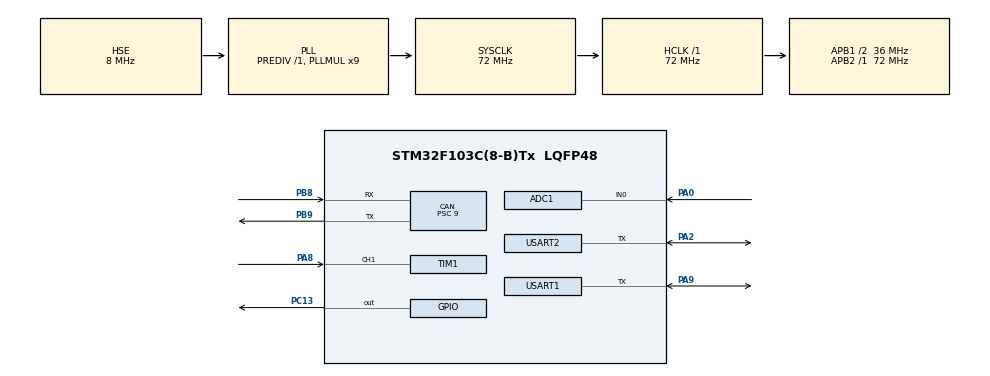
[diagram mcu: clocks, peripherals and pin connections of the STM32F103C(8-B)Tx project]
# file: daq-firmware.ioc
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ADC1.Channel-1\#ChannelRegularConversion=ADC_CHANNEL_0
ADC1.ContinuousConvMode=ENABLE
ADC1.NbrOfConversionFlag=1
ADC1.Rank-1\#ChannelRegularConversion=1
ADC1.SamplingTime-1\#ChannelRegularConversion=ADC_SAMPLETIME_239CYCLES_5
ADC1.master=1
CAN.BS1=CAN_BS1_3TQ
CAN.BS2=CAN_BS2_4TQ
CAN.CalculateBaudRate=500000
CAN.CalculateTimeBit=2000
CAN.CalculateTimeQuantum=250.0
CAN.Mode=CAN_MODE_LOOPBACK
CAN.Prescaler=9
Dma.ADC1.4.Direction=DMA_PERIPH_TO_MEMORY
Dma.ADC1.4.Instance=DMA1_Channel1
Dma.ADC1.4.MemDataAlignment=DMA_MDATAALIGN_HALFWORD
Dma.ADC1.4.MemInc=DMA_MINC_ENABLE
Dma.ADC1.4.Mode=DMA_CIRCULAR
Dma.ADC1.4.PeriphDataAlignment=DMA_PDATAALIGN_HALFWORD
Dma.ADC1.4.PeriphInc=DMA_PINC_DISABLE
Dma.ADC1.4.Priority=DMA_PRIORITY_LOW
Dma.Request0=USART1_RX
Dma.Request1=USART1_TX
Dma.Request2=USART2_TX
Dma.Request3=USART2_RX
Dma.Request4=ADC1
Dma.USART1_RX.0.Direction=DMA_PERIPH_TO_MEMORY
Dma.USART1_RX.0.Instance=DMA1_Channel5
Dma.USART1_RX.0.MemDataAlignment=DMA_MDATAALIGN_BYTE
Dma.USART1_RX.0.MemInc=DMA_MINC_ENABLE
Dma.USART1_RX.0.Mode=DMA_NORMAL
Dma.USART1_RX.0.PeriphDataAlignment=DMA_PDATAALIGN_BYTE
Dma.USART1_RX.0.PeriphInc=DMA_PINC_DISABLE
Dma.USART1_RX.0.Priority=DMA_PRIORITY_LOW
Dma.USART1_TX.1.Direction=DMA_MEMORY_TO_PERIPH
Dma.USART1_TX.1.Instance=DMA1_Channel4
Dma.USART1_TX.1.MemDataAlignment=DMA_MDATAALIGN_BYTE
Dma.USART1_TX.1.MemInc=DMA_MINC_ENABLE
Dma.USART1_TX.1.Mode=DMA_NORMAL
Dma.USART1_TX.1.PeriphDataAlignment=DMA_PDATAALIGN_BYTE
Dma.USART1_TX.1.PeriphInc=DMA_PINC_DISABLE
Dma.USART1_TX.1.Priority=DMA_PRIORITY_LOW
Dma.USART2_RX.3.Direction=DMA_PERIPH_TO_MEMORY
Dma.USART2_RX.3.Instance=DMA1_Channel6
Dma.USART2_RX.3.MemDataAlignment=DMA_MDATAALIGN_BYTE
Dma.USART2_RX.3.MemInc=DMA_MINC_ENABLE
Dma.USART2_RX.3.Mode=DMA_NORMAL
Dma.USART2_RX.3.PeriphDataAlignment=DMA_PDATAALIGN_BYTE
Dma.USART2_RX.3.PeriphInc=DMA_PINC_DISABLE
Dma.USART2_RX.3.Priority=DMA_PRIORITY_LOW
Dma.USART2_TX.2.Direction=DMA_MEMORY_TO_PERIPH
Dma.USART2_TX.2.Instance=DMA1_Channel7
Dma.USART2_TX.2.MemDataAlignment=DMA_MDATAALIGN_BYTE
Dma.USART2_TX.2.MemInc=DMA_MINC_ENABLE
Dma.USART2_TX.2.Mode=DMA_NORMAL
Dma.USART2_TX.2.PeriphDataAlignment=DMA_PDATAALIGN_BYTE
Dma.USART2_TX.2.PeriphInc=DMA_PINC_DISABLE
Dma.USART2_TX.2.Priority=DMA_PRIORITY_LOW
Mcu.Family=STM32F1
Mcu.Name=STM32F103C(8-B)Tx
Mcu.Package=LQFP48
NVIC.DMA1_Channel1_IRQn=true\:0\:0\:false\:false\:true\:false\:true\:true
NVIC.DMA1_Channel4_IRQn=true\:0\:0\:false\:false\:true\:false\:true\:true
NVIC.DMA1_Channel5_IRQn=true\:0\:0\:false\:false\:true\:false\:true\:true
NVIC.DMA1_Channel6_IRQn=true\:0\:0\:false\:false\:true\:false\:true\:true
NVIC.DMA1_Channel7_IRQn=true\:0\:0\:false\:false\:true\:false\:true\:true
NVIC.PriorityGroup=NVIC_PRIORITYGROUP_4
NVIC.TIM1_CC_IRQn=true\:0\:0\:false\:false\:true\:true\:true\:true
NVIC.USART1_IRQn=true\:0\:0\:false\:false\:true\:true\:true\:true
NVIC.USART2_IRQn=true\:0\:0\:false\:false\:true\:true\:true\:true
PA0-WKUP.Signal=ADCx_IN0
PA13.Mode=Serial_Wire
PA13.Signal=SYS_JTMS-SWDIO
PA14.Mode=Serial_Wire
PA14.Signal=SYS_JTCK-SWCLK
PA2.Mode=Half_duplex(single_wire_mode)
PA2.Signal=USART2_TX
PA8.Signal=S_TIM1_CH1
PA9.GPIO_Mode=GPIO_MODE_AF_OD
PA9.GPIO_Speed=GPIO_SPEED_FREQ_MEDIUM
PA9.Mode=Half_duplex(single_wire_mode)
PA9.Signal=USART1_TX
PB8.Mode=CAN_Activate
PB8.Signal=CAN_RX
PB9.Mode=CAN_Activate
PB9.Signal=CAN_TX
PC13-TAMPER-RTC.GPIO_ModeDefaultOutputPP=GPIO_MODE_OUTPUT_PP
PC13-TAMPER-RTC.GPIO_PuPd=GPIO_PULLDOWN
PC13-TAMPER-RTC.PinState=GPIO_PIN_RESET
PC13-TAMPER-RTC.Signal=GPIO_Output
PD0-OSC_IN.Mode=HSE-External-Oscillator
PD0-OSC_IN.Signal=RCC_OSC_IN
PD1-OSC_OUT.Mode=HSE-External-Oscillator
PD1-OSC_OUT.Signal=RCC_OSC_OUT
ProjectManager.HeapSize=0x200
ProjectManager.StackSize=0x400
ProjectManager.TargetToolchain=CMake
RCC.ADCPresc=RCC_ADCPCLK2_DIV6
RCC.AHBFreq_Value=72000000
RCC.APB1CLKDivider=RCC_HCLK_DIV2
RCC.APB1Freq_Value=36000000
RCC.APB1TimFreq_Value=72000000
RCC.APB2Freq_Value=72000000
RCC.APB2TimFreq_Value=72000000
RCC.HCLKFreq_Value=72000000
RCC.PLLMUL=RCC_PLL_MUL9
RCC.PLLSourceVirtual=RCC_PLLSOURCE_HSE
RCC.SYSCLKFreq_VALUE=72000000
RCC.SYSCLKSource=RCC_SYSCLKSOURCE_PLLCLK
RCC.USBFreq_Value=48000000
RCC.USBPrescaler=RCC_USBCLKSOURCE_PLL_DIV1_5
SH.ADCx_IN0.0=ADC1_IN0,IN0
SH.S_TIM1_CH1.0=TIM1_CH1,Input_Capture1_from_TI1
TIM1.Channel-Input_Capture1_from_TI1=TIM_CHANNEL_1
TIM1.Prescaler=7199
USART1.BaudRate=115200
USART1.VirtualMode=VM_ASYNC
USART2.VirtualMode=VM_ASYNC
VP_TIM1_VS_ClockSourceINT.Mode=Internal
board=custom

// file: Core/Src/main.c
/* USER CODE BEGIN Header */
/**
 ******************************************************************************
 * @file           : main.c
 * @brief          : Main program body
 ******************************************************************************
 * @attention
 *
 * Copyright (c) 2025 STMicroelectronics.
 * All rights reserved.
 *
 * This software is licensed under terms that can be found in the LICENSE file
 * in the root directory of this software component.
 * If no LICENSE file comes with this software, it is provided AS-IS.
 *
 ******************************************************************************
 */
/* USER CODE END Header */
#include "main.h"

#include "adc.h"
#include "can.h"
#include "dma.h"
#include "gpio.h"
#include "tim.h"
#include "usart.h"

/* USER CODE BEGIN Includes */
#include "SEGGER_RTT.h"
#include "Sensors.h"
#include "commu.h"
/* USER CODE END Includes */

/* USER CODE BEGIN PV */
// static float* flow_rate;
// static int* DS18B20_Temp;
// static uint16_t* result;
// static int* isRxed;
static uint32_t w;
static uint32_t tim1 = 0;
/* USER CODE END PV */

void SystemClock_Config(void);

/* USER CODE BEGIN 0 */
void HAL_TIM_IC_CaptureCallback(TIM_HandleTypeDef* htim) {
  w = HAL_TIM_ReadCapturedValue(htim, TIM_CHANNEL_1);
  static float* flow_rate = NULL;
  if (!flow_rate) flow_rate = fetch_flowrate();

  *flow_rate = (float)((10000 / (w - tim1)) / 7.5) * 1000;
  // SEGGER_RTT_printf(0, "tick = %d\n", w);
  // SEGGER_RTT_printf(0, "flow rate = %d L/min\n", (int)*flow_rate);

  tim1 = w;
}

void HAL_CAN_RxFifo0MsgPendingCallback(CAN_HandleTypeDef* hcan) {
  static CAN_RxHeaderTypeDef rx_header;
  static uint8_t rx_data[128];
  HAL_CAN_GetRxMessage(hcan, CAN_RX_FIFO0, &rx_header, rx_data);

  // can_receive_data(&rx_header, rx_data);
}

/* USER CODE END 0 */

int main(void) {

  /* MCU Configuration--------------------------------------------------------*/

  /* Reset of all peripherals, Initializes the Flash interface and the Systick.
   */
  HAL_Init();

  /* USER CODE BEGIN Init */
  SEGGER_RTT_Init();
  /* USER CODE END Init */

  /* Configure the system clock */
  SystemClock_Config();

  /* Initialize all configured peripherals */
  MX_GPIO_Init();
  MX_DMA_Init();
  MX_USART1_UART_Init();
  MX_USART2_UART_Init();
  MX_ADC1_Init();
  MX_TIM1_Init();
  MX_CAN_Init();
  /* USER CODE BEGIN 2 */

  // warm up & print
  HAL_Delay(500);
  SEGGER_RTT_printf(0, "start\n");
  can_init();

  /* USER CODE END 2 */

  /* Infinite loop */
  /* USER CODE BEGIN WHILE */
  while (1) {
    HAL_GPIO_TogglePin(GPIOC, GPIO_PIN_13);

    can_send_data();

    HAL_Delay(500);
    /* USER CODE END WHILE */

  }
}

void SystemClock_Config(void) {
  RCC_OscInitTypeDef RCC_OscInitStruct = {0};
  RCC_ClkInitTypeDef RCC_ClkInitStruct = {0};
  RCC_PeriphCLKInitTypeDef PeriphClkInit = {0};

  /** Initializes the RCC Oscillators according to the specified parameters
   * in the RCC_OscInitTypeDef structure.
   */
  RCC_OscInitStruct.OscillatorType = RCC_OSCILLATORTYPE_HSE;
  RCC_OscInitStruct.HSEState = RCC_HSE_ON;
  RCC_OscInitStruct.HSEPredivValue = RCC_HSE_PREDIV_DIV1;
  RCC_OscInitStruct.HSIState = RCC_HSI_ON;
  RCC_OscInitStruct.PLL.PLLState = RCC_PLL_ON;
  RCC_OscInitStruct.PLL.PLLSource = RCC_PLLSOURCE_HSE;
  RCC_OscInitStruct.PLL.PLLMUL = RCC_PLL_MUL9;
  if (HAL_RCC_OscConfig(&RCC_OscInitStruct) != HAL_OK) {
    Error_Handler();
  }

  /** Initializes the CPU, AHB and APB buses clocks
   */
  RCC_ClkInitStruct.ClockType = RCC_CLOCKTYPE_HCLK | RCC_CLOCKTYPE_SYSCLK |
                                RCC_CLOCKTYPE_PCLK1 | RCC_CLOCKTYPE_PCLK2;
  RCC_ClkInitStruct.SYSCLKSource = RCC_SYSCLKSOURCE_PLLCLK;
  RCC_ClkInitStruct.AHBCLKDivider = RCC_SYSCLK_DIV1;
  RCC_ClkInitStruct.APB1CLKDivider = RCC_HCLK_DIV2;
  RCC_ClkInitStruct.APB2CLKDivider = RCC_HCLK_DIV1;

  if (HAL_RCC_ClockConfig(&RCC_ClkInitStruct, FLASH_LATENCY_2) != HAL_OK) {
    Error_Handler();
  }
  PeriphClkInit.PeriphClockSelection = RCC_PERIPHCLK_ADC;
  PeriphClkInit.AdcClockSelection = RCC_ADCPCLK2_DIV6;
  if (HAL_RCCEx_PeriphCLKConfig(&PeriphClkInit) != HAL_OK) {
    Error_Handler();
  }
}

void Error_Handler(void) {
  __disable_irq();
  while (1) {
  }
}

#ifdef USE_FULL_ASSERT
/**
 * @brief  Reports the name of the source file and the source line number
 *         where the assert_param error has occurred.
 * @param  file: pointer to the source file name
 * @param  line: assert_param error line source number
 * @retval None
 */
void assert_failed(uint8_t* file, uint32_t line) {
  /* USER CODE BEGIN 6 */
  /* User can add his own implementation to report the file name and line
     number, ex: printf("Wrong parameters value: file %s on line %d\r\n", file,
     line) */
  /* USER CODE END 6 */
}
#endif /* USE_FULL_ASSERT */
